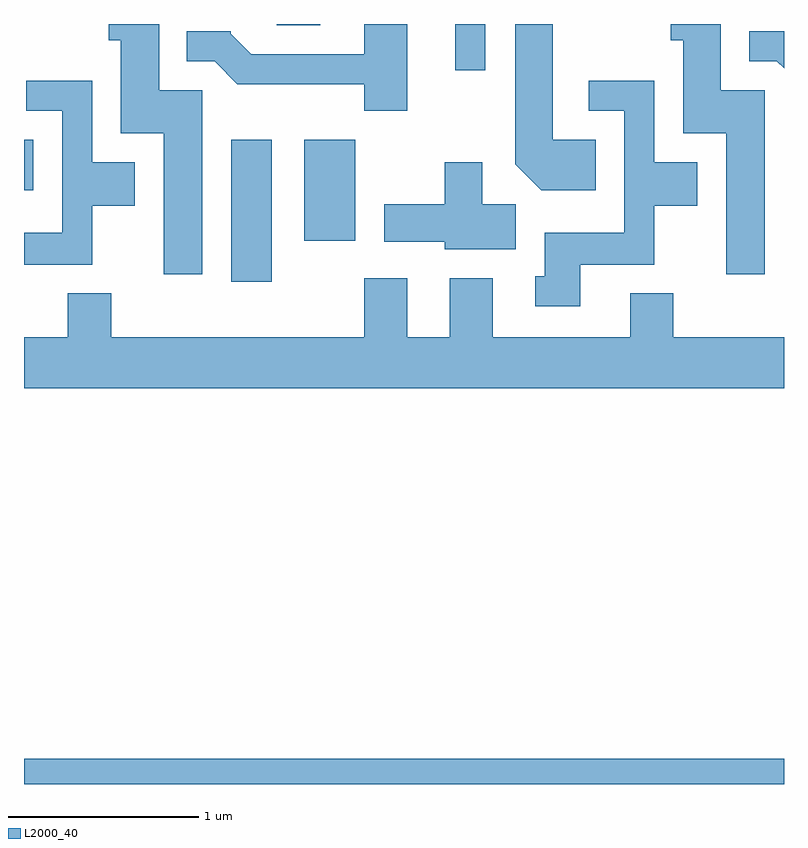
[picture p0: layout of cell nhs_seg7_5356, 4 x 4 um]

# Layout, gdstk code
import gdstk
lib = gdstk.Library(unit=1e-6, precision=1e-09)
def R(c, l, rs):  # rectangles x0, y0, x1, y1
    for r in rs: c.add(gdstk.rectangle(r[:2], r[2:], *l))
def P(c, l, *ps):  # polygons
    for p in ps: c.add(gdstk.Polygon(p, *l))
L2000_40 = (2000, 40)

nhs_seg7_5356 = lib.new_cell('nhs_seg7_5356')
R(nhs_seg7_5356, L2000_40, [(349.611,1692.252,353.611,1692.384), (350.701,1694.896,350.914,1695.644), (351.086,1695.111,351.354,1695.644), (349.611,1695.376,349.659,1695.644), (351.881,1696.008,352.039,1696.252), (350.941,1696.246,351.169,1696.252)])
P(nhs_seg7_5356, L2000_40, [(351.629,1696.252),(351.401,1696.252),(351.401,1696.094),(350.807,1696.094),(350.7,1696.201),(350.7,1696.214),(350.468,1696.214),(350.468,1696.056),(350.614,1696.056),(350.734,1695.936),(351.401,1695.936),(351.401,1695.796),(351.629,1695.796)],
  [(352.619,1695.644),(352.394,1695.644),(352.394,1696.252),(352.196,1696.252),(352.196,1695.514),(352.334,1695.376),(352.619,1695.376)],
  [(350.549,1695.904),(350.324,1695.904),(350.324,1696.252),(350.056,1696.252),(350.056,1696.166),(350.121,1696.166),(350.121,1695.676),(350.346,1695.676),(350.346,1694.936),(350.549,1694.936)],
  [(353.509,1695.904),(353.279,1695.904),(353.279,1696.252),(353.016,1696.252),(353.016,1696.166),(353.081,1696.166),(353.081,1695.676),(353.306,1695.676),(353.306,1694.936),(353.509,1694.936)],
  [(353.611,1696.214),(353.428,1696.214),(353.428,1696.056),(353.574,1696.056),(353.611,1696.019)],
  [(349.969,1695.296),(350.194,1695.296),(350.194,1695.524),(349.969,1695.524),(349.969,1695.954),(349.623,1695.954),(349.623,1695.796),(349.811,1695.796),(349.811,1695.154),(349.611,1695.154),(349.611,1694.986),(349.969,1694.986)],
  [(352.539,1694.986),(352.929,1694.986),(352.929,1695.296),(353.154,1695.296),(353.154,1695.524),(352.929,1695.524),(352.929,1695.954),(352.583,1695.954),(352.583,1695.796),(352.771,1695.796),(352.771,1695.154),(352.351,1695.154),(352.351,1694.924),(352.303,1694.924),(352.303,1694.766),(352.539,1694.766)],
  [(352.199,1695.304),(352.024,1695.304),(352.024,1695.524),(351.826,1695.524),(351.826,1695.304),(351.506,1695.304),(351.506,1695.106),(351.826,1695.106),(351.826,1695.066),(352.199,1695.066)],
  [(353.611,1694.604),(353.029,1694.604),(353.029,1694.834),(352.801,1694.834),(352.801,1694.604),(352.079,1694.604),(352.079,1694.914),(351.851,1694.914),(351.851,1694.604),(351.629,1694.604),(351.629,1694.914),(351.401,1694.914),(351.401,1694.604),(350.069,1694.604),(350.069,1694.834),(349.841,1694.834),(349.841,1694.604),(349.611,1694.604),(349.611,1694.336),(353.611,1694.336)])

lib.write_gds('nhs_seg7_5356.gds')
